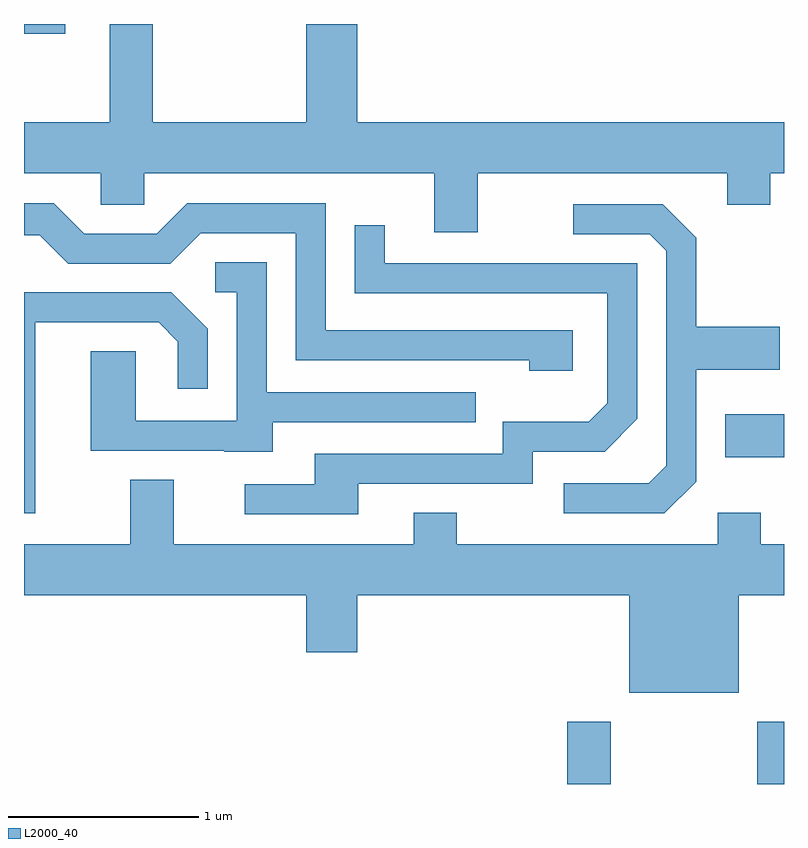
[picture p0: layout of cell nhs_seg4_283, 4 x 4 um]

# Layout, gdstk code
import gdstk
lib = gdstk.Library(unit=1e-6, precision=1e-09)
def R(c, l, rs):  # rectangles x0, y0, x1, y1
    for r in rs: c.add(gdstk.rectangle(r[:2], r[2:], *l))
def P(c, l, *ps):  # polygons
    for p in ps: c.add(gdstk.Polygon(p, *l))
L2000_40 = (2000, 40)

nhs_seg4_283 = lib.new_cell('nhs_seg4_283')
R(nhs_seg4_283, L2000_40, [(196.471,1275.982,196.699,1276.309), (197.471,1275.982,197.611,1276.309), (197.301,1277.701,197.611,1277.929), (193.611,1279.931,193.829,1279.982)])
P(nhs_seg4_283, L2000_40, [(195.999,1279.196),(197.311,1279.196),(197.311,1279.031),(197.539,1279.031),(197.539,1279.196),(197.611,1279.196),(197.611,1279.464),(195.364,1279.464),(195.364,1279.982),(195.096,1279.982),(195.096,1279.464),(194.289,1279.464),(194.289,1279.982),(194.061,1279.982),(194.061,1279.464),(193.611,1279.464),(193.611,1279.196),(194.016,1279.196),(194.016,1279.031),(194.244,1279.031),(194.244,1279.196),(195.771,1279.196),(195.771,1278.886),(195.999,1278.886)],
  [(196.499,1278.369),(195.199,1278.369),(195.199,1279.039),(194.469,1279.039),(194.309,1278.879),(193.927,1278.879),(193.767,1279.039),(193.611,1279.039),(193.611,1278.871),(193.694,1278.871),(193.844,1278.721),(194.382,1278.721),(194.542,1278.881),(195.041,1278.881),(195.041,1278.211),(196.271,1278.211),(196.271,1278.156),(196.499,1278.156)],
  [(197.149,1277.574),(197.149,1278.161),(197.589,1278.161),(197.589,1278.389),(197.149,1278.389),(197.149,1278.857),(196.972,1279.034),(196.503,1279.034),(196.503,1278.876),(196.904,1278.876),(196.991,1278.789),(196.991,1277.657),(196.899,1277.564),(196.453,1277.564),(196.453,1277.406),(196.982,1277.406)],
  [(195.369,1277.561),(196.289,1277.561),(196.289,1277.731),(196.667,1277.731),(196.839,1277.904),(196.839,1278.724),(195.509,1278.724),(195.509,1278.923),(195.351,1278.923),(195.351,1278.566),(196.681,1278.566),(196.681,1277.987),(196.584,1277.889),(196.131,1277.889),(196.131,1277.719),(195.141,1277.719),(195.141,1277.559),(194.773,1277.559),(194.773,1277.401),(195.369,1277.401)],
  [(194.919,1277.886),(195.988,1277.886),(195.988,1278.044),(194.889,1278.044),(194.889,1278.729),(194.618,1278.729),(194.618,1278.571),(194.731,1278.571),(194.731,1277.894),(194.199,1277.894),(194.199,1278.259),(193.961,1278.259),(193.961,1277.736),(194.665,1277.736),(194.665,1277.731),(194.919,1277.731)],
  [(193.669,1278.411),(194.319,1278.411),(194.421,1278.309),(194.421,1278.063),(194.579,1278.063),(194.579,1278.377),(194.387,1278.569),(193.611,1278.569),(193.611,1277.406),(193.669,1277.406)],
  [(197.374,1276.976),(197.611,1276.976),(197.611,1277.244),(197.489,1277.244),(197.489,1277.409),(197.261,1277.409),(197.261,1277.244),(195.889,1277.244),(195.889,1277.409),(195.661,1277.409),(195.661,1277.244),(194.399,1277.244),(194.399,1277.584),(194.171,1277.584),(194.171,1277.244),(193.611,1277.244),(193.611,1276.976),(195.096,1276.976),(195.096,1276.676),(195.364,1276.676),(195.364,1276.976),(196.796,1276.976),(196.796,1276.461),(197.374,1276.461)])

lib.write_gds('nhs_seg4_283.gds')
